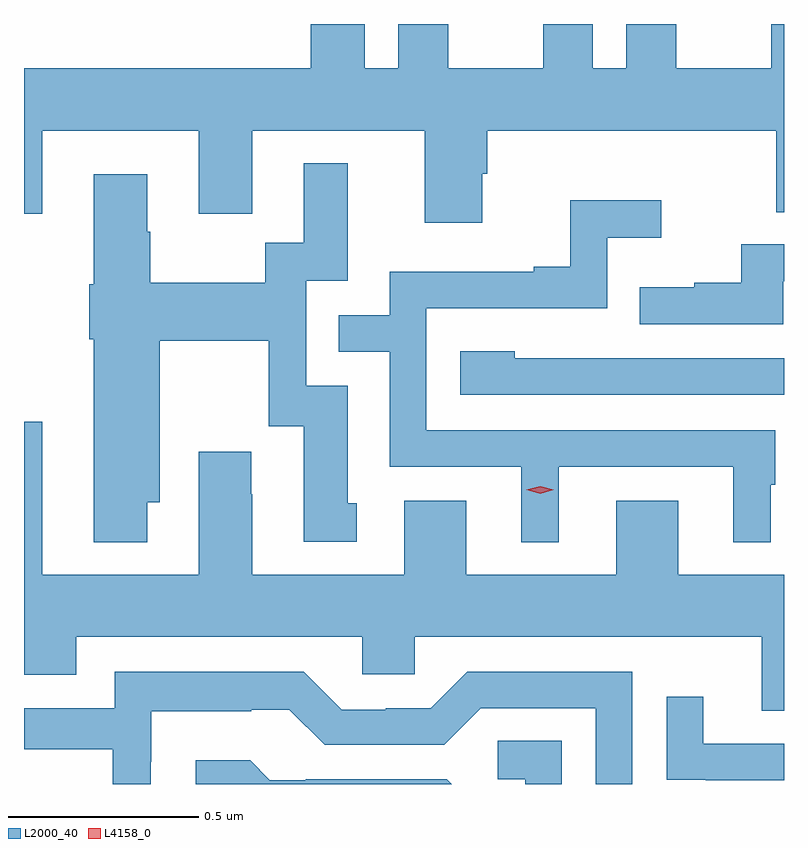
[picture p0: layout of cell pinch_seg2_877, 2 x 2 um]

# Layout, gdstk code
import gdstk
lib = gdstk.Library(unit=1e-6, precision=1e-09)
def P(c, l, *ps):  # polygons
    for p in ps: c.add(gdstk.Polygon(p, *l))
L2000_40 = (2000, 40)
L4158_0 = (4158, 0)

pinch_seg2_877 = lib.new_cell('pinch_seg2_877')
P(pinch_seg2_877, L2000_40, [(623.329,627.543),(623.342,627.543),(623.342,627.656),(624.102,627.656),(624.102,627.442),(624.123,627.442),(624.123,627.937),(624.089,627.937),(624.089,627.82),(623.839,627.82),(623.839,627.937),(623.708,627.937),(623.708,627.82),(623.62,627.82),(623.62,627.937),(623.489,627.937),(623.489,627.82),(623.239,627.82),(623.239,627.937),(623.108,627.937),(623.108,627.82),(623.02,627.82),(623.02,627.937),(622.877,627.937),(622.877,627.82),(622.123,627.82),(622.123,627.438),(622.171,627.438),(622.171,627.656),(622.583,627.656),(622.583,627.438),(622.723,627.438),(622.723,627.656),(623.177,627.656),(623.177,627.414),(623.329,627.414)],
  [(622.447,626.678),(622.48,626.678),(622.48,627.104),(622.767,627.104),(622.767,626.879),(622.859,626.879),(622.859,626.574),(622.999,626.574),(622.999,626.676),(622.975,626.676),(622.975,626.985),(622.866,626.985),(622.866,627.261),(622.975,627.261),(622.975,627.571),(622.859,627.571),(622.859,627.362),(622.758,627.362),(622.758,627.256),(622.455,627.256),(622.455,627.39),(622.447,627.39),(622.447,627.541),(622.307,627.541),(622.307,627.252),(622.295,627.252),(622.295,627.108),(622.307,627.108),(622.307,626.573),(622.447,626.573)],
  [(623.53,626.772),(623.99,626.772),(623.99,626.573),(624.088,626.573),(624.088,626.724),(624.1,626.724),(624.1,626.868),(623.181,626.868),(623.181,627.189),(623.658,627.189),(623.658,627.374),(623.8,627.374),(623.8,627.473),(623.56,627.473),(623.56,627.298),(623.465,627.298),(623.465,627.285),(623.085,627.285),(623.085,627.171),(622.951,627.171),(622.951,627.075),(623.085,627.075),(623.085,626.772),(623.432,626.772),(623.432,626.573),(623.53,626.573)],
  [(624.121,627.26),(624.123,627.26),(624.123,627.357),(624.011,627.357),(624.011,627.256),(623.887,627.256),(623.887,627.244),(623.743,627.244),(623.743,627.147),(624.121,627.147)],
  [(624.123,627.057),(623.651,627.057),(623.651,627.058),(623.415,627.058),(623.415,627.076),(623.271,627.076),(623.271,626.961),(624.123,626.961)],
  [(624.123,626.488),(623.845,626.488),(623.845,626.683),(623.681,626.683),(623.681,626.488),(623.287,626.488),(623.287,626.683),(623.123,626.683),(623.123,626.488),(622.723,626.488),(622.723,626.699),(622.721,626.699),(622.721,626.812),(622.583,626.812),(622.583,626.488),(622.171,626.488),(622.171,626.89),(622.123,626.89),(622.123,626.225),(622.261,626.225),(622.261,626.324),(623.013,626.324),(623.013,626.226),(623.151,626.226),(623.151,626.324),(624.065,626.324),(624.065,626.13),(624.123,626.13)],
  [(622.456,625.995),(622.458,625.995),(622.458,626.129),(622.721,626.129),(622.721,626.133),(622.821,626.133),(622.914,626.04),(623.229,626.04),(623.325,626.136),(623.628,626.136),(623.628,625.937),(623.724,625.937),(623.724,626.232),(623.289,626.232),(623.193,626.136),(623.075,626.136),(623.075,626.133),(622.959,626.133),(622.859,626.233),(622.362,626.233),(622.362,626.136),(622.123,626.136),(622.123,626.028),(622.357,626.028),(622.357,625.937),(622.456,625.937)],
  [(624.123,626.043),(623.911,626.043),(623.911,626.167),(623.815,626.167),(623.815,625.948),(623.917,625.948),(623.917,625.947),(624.123,625.947)],
  [(623.538,626.051),(623.37,626.051),(623.37,625.95),(623.442,625.95),(623.442,625.937),(623.538,625.937)],
  [(623.236,625.95),(622.864,625.95),(622.864,625.947),(622.77,625.947),(622.718,625.999),(622.575,625.999),(622.575,625.937),(623.249,625.937)])
P(pinch_seg2_877, L4158_0, [(623.481,626.701),(623.445,626.711),(623.445,626.711),(623.445,626.711),(623.481,626.721),(623.517,626.711),(623.517,626.711),(623.517,626.711)])

lib.write_gds('pinch_seg2_877.gds')
